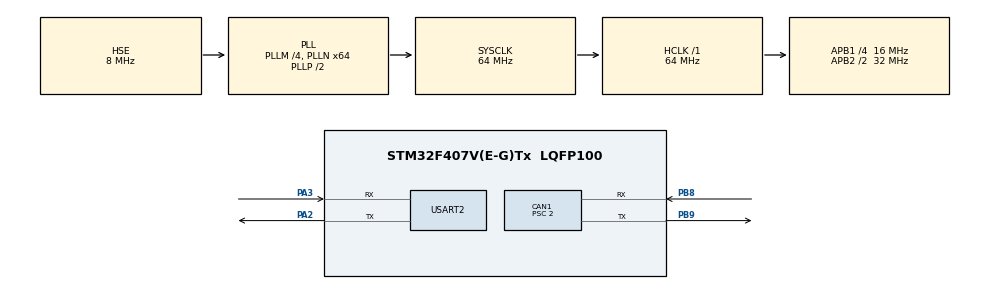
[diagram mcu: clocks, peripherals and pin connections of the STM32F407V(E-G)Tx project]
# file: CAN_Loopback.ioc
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CAN1.BS1=CAN_BS1_13TQ
CAN1.BS2=CAN_BS2_2TQ
CAN1.CalculateBaudRate=500000
CAN1.CalculateTimeBit=2000
CAN1.CalculateTimeQuantum=125.0
CAN1.Mode=CAN_MODE_LOOPBACK
CAN1.NART=ENABLE
CAN1.Prescaler=2
Mcu.Family=STM32F4
Mcu.Name=STM32F407V(E-G)Tx
Mcu.Package=LQFP100
NVIC.CAN1_RX0_IRQn=true\:0\:0\:false\:false\:true\:true\:true\:true
NVIC.PriorityGroup=NVIC_PRIORITYGROUP_0
PA13.Mode=Serial_Wire
PA13.Signal=SYS_JTMS-SWDIO
PA14.Mode=Serial_Wire
PA14.Signal=SYS_JTCK-SWCLK
PA2.Mode=Asynchronous
PA2.Signal=USART2_TX
PA3.Mode=Asynchronous
PA3.Signal=USART2_RX
PB8.GPIO_PuPd=GPIO_PULLUP
PB8.Mode=CAN_Activate
PB8.Signal=CAN1_RX
PB9.Mode=CAN_Activate
PB9.Signal=CAN1_TX
PH0-OSC_IN.Mode=HSE-External-Oscillator
PH0-OSC_IN.Signal=RCC_OSC_IN
PH1-OSC_OUT.Mode=HSE-External-Oscillator
PH1-OSC_OUT.Signal=RCC_OSC_OUT
ProjectManager.HeapSize=0x200
ProjectManager.StackSize=0x400
ProjectManager.TargetToolchain=STM32CubeIDE
RCC.48MHZClocksFreq_Value=18285714.285714287
RCC.AHBFreq_Value=64000000
RCC.APB1CLKDivider=RCC_HCLK_DIV4
RCC.APB1Freq_Value=16000000
RCC.APB1TimFreq_Value=32000000
RCC.APB2CLKDivider=RCC_HCLK_DIV2
RCC.APB2Freq_Value=32000000
RCC.APB2TimFreq_Value=64000000
RCC.CortexFreq_Value=64000000
RCC.HCLKFreq_Value=64000000
RCC.HSE_VALUE=8000000
RCC.HSI_VALUE=16000000
RCC.LSE_VALUE=32768
RCC.PLLM=4
RCC.PLLN=64
RCC.PLLQ=7
RCC.PLLSourceVirtual=RCC_PLLSOURCE_HSE
RCC.SYSCLKFreq_VALUE=64000000
RCC.SYSCLKSource=RCC_SYSCLKSOURCE_PLLCLK
RCC.VCOOutputFreq_Value=128000000
USART2.VirtualMode=VM_ASYNC
board=STM32F407G-DISC1

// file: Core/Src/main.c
/* USER CODE BEGIN Header */
/**
  ******************************************************************************
  * @file           : main.c
  * @brief          : Main program body
  ******************************************************************************
  * @attention
  *
  * Copyright (c) 2026 STMicroelectronics.
  * All rights reserved.
  *
  * This software is licensed under terms that can be found in the LICENSE file
  * in the root directory of this software component.
  * If no LICENSE file comes with this software, it is provided AS-IS.
  *
  ******************************************************************************
  */
/* USER CODE END Header */
#include "main.h"

/* USER CODE BEGIN Includes */

#include "stdio.h"
#include "string.h"

/* USER CODE END Includes */

CAN_HandleTypeDef hcan1;

UART_HandleTypeDef huart2;

/* USER CODE BEGIN PV */

CAN_TxHeaderTypeDef txHeader;
uint8_t txData[8];
uint32_t txMailbox;

/* USER CODE END PV */

void SystemClock_Config(void);
static void MX_GPIO_Init(void);
static void MX_CAN1_Init(void);
static void MX_USART2_UART_Init(void);

/* USER CODE BEGIN 0 */

void CAN_Filter_Config(void)
{
    CAN_FilterTypeDef filter;

    filter.FilterActivation = ENABLE;     // enable this filter
    filter.FilterBank = 0;                // use filter bank 0
    filter.FilterFIFOAssignment = CAN_FILTER_FIFO0; // route to FIFO0

    // Accept all IDs → no filtering
    filter.FilterIdHigh = 0x0000;
    filter.FilterIdLow  = 0x0000;
    filter.FilterMaskIdHigh = 0x0000;
    filter.FilterMaskIdLow  = 0x0000;

    filter.FilterMode = CAN_FILTERMODE_IDMASK;   // mask mode
    filter.FilterScale = CAN_FILTERSCALE_32BIT;  // full 32-bit filter

    filter.SlaveStartFilterBank = 14; // required for STM32F4 dual CAN

    HAL_CAN_ConfigFilter(&hcan1, &filter);
}

void HAL_CAN_RxFifo0MsgPendingCallback(CAN_HandleTypeDef *hcan)
{
    CAN_RxHeaderTypeDef rxHeader;
    uint8_t rxData[8];
    char msg[100];

    // Read received message from FIFO0
    HAL_CAN_GetRxMessage(hcan, CAN_RX_FIFO0, &rxHeader, rxData);

    // Convert to readable string
    sprintf(msg, "ID:0x%03lX Data:%02X %02X %02X\r\n",
            rxHeader.StdId,
            rxData[0],
            rxData[1],
            rxData[2]);

    // Send to UART (Tera Term)
    HAL_UART_Transmit(&huart2, (uint8_t*)msg, strlen(msg), 100);
}

/* USER CODE END 0 */

int main(void)
{

  /* USER CODE BEGIN 1 */

	uint8_t FreeTxMailbox;
	HAL_CAN_StateTypeDef CAN_State_Var;

  /* USER CODE END 1 */

  /* MCU Configuration--------------------------------------------------------*/

  /* Reset of all peripherals, Initializes the Flash interface and the Systick. */
  HAL_Init();

  /* Configure the system clock */
  SystemClock_Config();

  /* USER CODE BEGIN SysInit */

  CAN_State_Var = HAL_CAN_GetState(&hcan1);

  /* USER CODE END SysInit */

  /* Initialize all configured peripherals */
  MX_GPIO_Init();
  MX_CAN1_Init();
  MX_USART2_UART_Init();
  /* USER CODE BEGIN 2 */

  CAN_State_Var = HAL_CAN_GetState(&hcan1);

  // Configure filter BEFORE starting CAN
  CAN_Filter_Config();

  // Start CAN peripheral
  if(HAL_CAN_Start(&hcan1) != HAL_OK)
  {
	  Error_Handler();
  }

  CAN_State_Var = HAL_CAN_GetState(&hcan1);

  // Enable RX interrupt
  if(HAL_CAN_ActivateNotification(&hcan1, CAN_IT_RX_FIFO0_MSG_PENDING) != HAL_OK)
  {
	  Error_Handler();
  }

  // Configure CAN message header
  txHeader.StdId = 0x123;       // Standard ID
  txHeader.IDE   = CAN_ID_STD;  // Standard frame
  txHeader.RTR   = CAN_RTR_DATA;// Data frame
  txHeader.DLC   = 3;           // 3 bytes

  // Data payload
  txData[0] = 0x11;
  txData[1] = 0x22;
  txData[2] = 0x33;

  // Wait until mailbox is free
  while (HAL_CAN_GetTxMailboxesFreeLevel(&hcan1) == 0);

  FreeTxMailbox = HAL_CAN_GetTxMailboxesFreeLevel(&hcan1);

  // Send message
  if(HAL_CAN_AddTxMessage(&hcan1, &txHeader, txData, &txMailbox) != HAL_OK)
  {
	  Error_Handler();
  }

  /* USER CODE END 2 */

  /* Infinite loop */
  while (1)
  {

  }
}

void SystemClock_Config(void)
{
  RCC_OscInitTypeDef RCC_OscInitStruct = {0};
  RCC_ClkInitTypeDef RCC_ClkInitStruct = {0};

  /** Configure the main internal regulator output voltage
  */
  __HAL_RCC_PWR_CLK_ENABLE();
  __HAL_PWR_VOLTAGESCALING_CONFIG(PWR_REGULATOR_VOLTAGE_SCALE1);

  /** Initializes the RCC Oscillators according to the specified parameters
  * in the RCC_OscInitTypeDef structure.
  */
  RCC_OscInitStruct.OscillatorType = RCC_OSCILLATORTYPE_HSE;
  RCC_OscInitStruct.HSEState = RCC_HSE_ON;
  RCC_OscInitStruct.PLL.PLLState = RCC_PLL_ON;
  RCC_OscInitStruct.PLL.PLLSource = RCC_PLLSOURCE_HSE;
  RCC_OscInitStruct.PLL.PLLM = 4;
  RCC_OscInitStruct.PLL.PLLN = 64;
  RCC_OscInitStruct.PLL.PLLP = RCC_PLLP_DIV2;
  RCC_OscInitStruct.PLL.PLLQ = 7;
  if (HAL_RCC_OscConfig(&RCC_OscInitStruct) != HAL_OK)
  {
    Error_Handler();
  }

  /** Initializes the CPU, AHB and APB buses clocks
  */
  RCC_ClkInitStruct.ClockType = RCC_CLOCKTYPE_HCLK|RCC_CLOCKTYPE_SYSCLK
                              |RCC_CLOCKTYPE_PCLK1|RCC_CLOCKTYPE_PCLK2;
  RCC_ClkInitStruct.SYSCLKSource = RCC_SYSCLKSOURCE_PLLCLK;
  RCC_ClkInitStruct.AHBCLKDivider = RCC_SYSCLK_DIV1;
  RCC_ClkInitStruct.APB1CLKDivider = RCC_HCLK_DIV4;
  RCC_ClkInitStruct.APB2CLKDivider = RCC_HCLK_DIV2;

  if (HAL_RCC_ClockConfig(&RCC_ClkInitStruct, FLASH_LATENCY_2) != HAL_OK)
  {
    Error_Handler();
  }
}

static void MX_CAN1_Init(void)
{

  hcan1.Instance = CAN1;
  hcan1.Init.Prescaler = 2;
  hcan1.Init.Mode = CAN_MODE_LOOPBACK;
  hcan1.Init.SyncJumpWidth = CAN_SJW_1TQ;
  hcan1.Init.TimeSeg1 = CAN_BS1_13TQ;
  hcan1.Init.TimeSeg2 = CAN_BS2_2TQ;
  hcan1.Init.TimeTriggeredMode = DISABLE;
  hcan1.Init.AutoBusOff = DISABLE;
  hcan1.Init.AutoWakeUp = DISABLE;
  hcan1.Init.AutoRetransmission = ENABLE;
  hcan1.Init.ReceiveFifoLocked = DISABLE;
  hcan1.Init.TransmitFifoPriority = DISABLE;
  if (HAL_CAN_Init(&hcan1) != HAL_OK)
  {
    Error_Handler();
  }

}

static void MX_USART2_UART_Init(void)
{

  huart2.Instance = USART2;
  huart2.Init.BaudRate = 115200;
  huart2.Init.WordLength = UART_WORDLENGTH_8B;
  huart2.Init.StopBits = UART_STOPBITS_1;
  huart2.Init.Parity = UART_PARITY_NONE;
  huart2.Init.Mode = UART_MODE_TX_RX;
  huart2.Init.HwFlowCtl = UART_HWCONTROL_NONE;
  huart2.Init.OverSampling = UART_OVERSAMPLING_16;
  if (HAL_UART_Init(&huart2) != HAL_OK)
  {
    Error_Handler();
  }

}

static void MX_GPIO_Init(void)
{

  /* GPIO Ports Clock Enable */
  __HAL_RCC_GPIOH_CLK_ENABLE();
  __HAL_RCC_GPIOA_CLK_ENABLE();
  __HAL_RCC_GPIOB_CLK_ENABLE();

}

void Error_Handler(void)
{
  __disable_irq();
  while (1)
  {
  }
}
